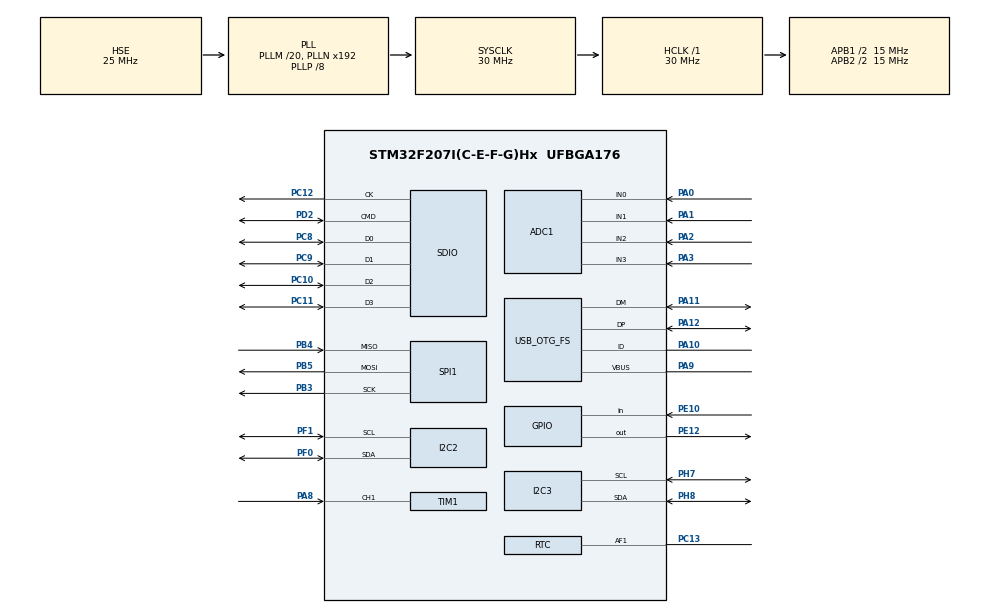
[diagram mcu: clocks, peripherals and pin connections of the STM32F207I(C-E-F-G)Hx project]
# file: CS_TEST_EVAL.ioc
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ADC1.Channel=ADC_CHANNEL_VREFINT
ADC1.Channel-0\#ChannelRegularConversion=ADC_CHANNEL_0
ADC1.Rank-0\#ChannelRegularConversion=1
ADC1.SamplingTime-0\#ChannelRegularConversion=ADC_SAMPLETIME_3CYCLES
ADC1.master=1
ADC2.Channel=ADC_CHANNEL_2
ADC2.Channel-0\#ChannelRegularConversion=ADC_CHANNEL_0
ADC2.Rank-0\#ChannelRegularConversion=1
ADC2.SamplingTime-0\#ChannelRegularConversion=ADC_SAMPLETIME_3CYCLES
ADC3.Channel=ADC_CHANNEL_1
ADC3.Channel-0\#ChannelRegularConversion=ADC_CHANNEL_0
ADC3.NbrOfConversionFlag=1
ADC3.Rank-0\#ChannelRegularConversion=1
ADC3.SamplingTime-0\#ChannelRegularConversion=ADC_SAMPLETIME_3CYCLES
Dma.ADC1.1.Channel=DMA_CHANNEL_0
Dma.ADC1.1.Direction=DMA_PERIPH_TO_MEMORY
Dma.ADC1.1.FIFOMode=DMA_FIFOMODE_DISABLE
Dma.ADC1.1.Instance=DMA2_Stream0
Dma.ADC1.1.MemDataAlignment=DMA_MDATAALIGN_BYTE
Dma.ADC1.1.MemInc=DMA_MINC_ENABLE
Dma.ADC1.1.Mode=DMA_NORMAL
Dma.ADC1.1.PeriphDataAlignment=DMA_PDATAALIGN_BYTE
Dma.ADC1.1.PeriphInc=DMA_PINC_DISABLE
Dma.ADC1.1.Priority=DMA_PRIORITY_LOW
Dma.I2C2_RX.3.Channel=DMA_CHANNEL_7
Dma.I2C2_RX.3.Direction=DMA_PERIPH_TO_MEMORY
Dma.I2C2_RX.3.FIFOMode=DMA_FIFOMODE_DISABLE
Dma.I2C2_RX.3.Instance=DMA1_Stream2
Dma.I2C2_RX.3.MemDataAlignment=DMA_MDATAALIGN_BYTE
Dma.I2C2_RX.3.MemInc=DMA_MINC_DISABLE
Dma.I2C2_RX.3.Mode=DMA_NORMAL
Dma.I2C2_RX.3.PeriphDataAlignment=DMA_PDATAALIGN_BYTE
Dma.I2C2_RX.3.PeriphInc=DMA_PINC_DISABLE
Dma.I2C2_RX.3.Priority=DMA_PRIORITY_LOW
Dma.Request0=SDIO
Dma.Request1=ADC1
Dma.Request2=TIM1_CH1/CH2/CH3
Dma.Request3=I2C2_RX
Dma.SDIO.0.Channel=DMA_CHANNEL_4
Dma.SDIO.0.Direction=DMA_PERIPH_TO_MEMORY
Dma.SDIO.0.FIFOMode=DMA_FIFOMODE_ENABLE
Dma.SDIO.0.FIFOThreshold=DMA_FIFO_THRESHOLD_HALFFULL
Dma.SDIO.0.Instance=DMA2_Stream3
Dma.SDIO.0.MemBurst=DMA_MBURST_SINGLE
Dma.SDIO.0.MemDataAlignment=DMA_MDATAALIGN_BYTE
Dma.SDIO.0.MemInc=DMA_MINC_ENABLE
Dma.SDIO.0.Mode=DMA_PFCTRL
Dma.SDIO.0.PeriphBurst=DMA_PBURST_SINGLE
Dma.SDIO.0.PeriphDataAlignment=DMA_PDATAALIGN_BYTE
Dma.SDIO.0.PeriphInc=DMA_PINC_DISABLE
Dma.SDIO.0.Priority=DMA_PRIORITY_LOW
Dma.TIM1_CH1/CH2/CH3.2.Channel=DMA_CHANNEL_0
Dma.TIM1_CH1/CH2/CH3.2.Direction=DMA_PERIPH_TO_MEMORY
Dma.TIM1_CH1/CH2/CH3.2.FIFOMode=DMA_FIFOMODE_DISABLE
Dma.TIM1_CH1/CH2/CH3.2.Instance=DMA2_Stream6
Dma.TIM1_CH1/CH2/CH3.2.MemDataAlignment=DMA_MDATAALIGN_BYTE
Dma.TIM1_CH1/CH2/CH3.2.MemInc=DMA_MINC_DISABLE
Dma.TIM1_CH1/CH2/CH3.2.Mode=DMA_NORMAL
Dma.TIM1_CH1/CH2/CH3.2.PeriphDataAlignment=DMA_PDATAALIGN_BYTE
Dma.TIM1_CH1/CH2/CH3.2.PeriphInc=DMA_PINC_DISABLE
Dma.TIM1_CH1/CH2/CH3.2.Priority=DMA_PRIORITY_LOW
Mcu.Family=STM32F2
Mcu.Name=STM32F207I(C-E-F-G)Hx
Mcu.Package=UFBGA176
NVIC.PriorityGroup=NVIC_PRIORITYGROUP_0
NVIC.RTC_Alarm_IRQn=true\:0\:0\:false
PA0-WKUP.Signal=ADCx_IN0
PA1.Signal=ADCx_IN1
PA10.Mode=OTG/Dual_Role_Device
PA10.Signal=USB_OTG_FS_ID
PA11.Mode=OTG/Dual_Role_Device
PA11.Signal=USB_OTG_FS_DM
PA12.Mode=OTG/Dual_Role_Device
PA12.Signal=USB_OTG_FS_DP
PA2.Signal=ADCx_IN2
PA3.Signal=ADCx_IN3
PA8.Signal=S_TIM1_CH1
PA9.Mode=Activate_VBUS
PA9.Signal=USB_OTG_FS_VBUS
PB3.Mode=Full_Duplex_Master
PB3.Signal=SPI1_SCK
PB4.Mode=Full_Duplex_Master
PB4.Signal=SPI1_MISO
PB5.Mode=Full_Duplex_Master
PB5.Signal=SPI1_MOSI
PC10.Mode=SD_4_bits_Wide_bus
PC10.Signal=SDIO_D2
PC11.Mode=SD_4_bits_Wide_bus
PC11.Signal=SDIO_D3
PC12.Mode=SD_4_bits_Wide_bus
PC12.Signal=SDIO_CK
PC13.Mode=Calibration_512Hz
PC13.Signal=RTC_AF1
PC8.Mode=SD_4_bits_Wide_bus
PC8.Signal=SDIO_D0
PC9.Mode=SD_4_bits_Wide_bus
PC9.Signal=SDIO_D1
PD2.Mode=SD_4_bits_Wide_bus
PD2.Signal=SDIO_CMD
PE10.Signal=GPIO_Input
PE12.Signal=GPIO_Output
PF0.Mode=I2C
PF0.Signal=I2C2_SDA
PF1.Mode=I2C
PF1.Signal=I2C2_SCL
PH0-OSC_IN.Mode=HSE-External-Oscillator
PH0-OSC_IN.Signal=RCC_OSC_IN
PH1-OSC_OUT.Mode=HSE-External-Oscillator
PH1-OSC_OUT.Signal=RCC_OSC_OUT
PH7.Mode=I2C
PH7.Signal=I2C3_SCL
PH8.Mode=I2C
PH8.Signal=I2C3_SDA
ProjectManager.TargetToolchain=MDK-ARM 4.73
RCC.48MHZClocksFreq_Value=48000000
RCC.AHBFreq_Value=30000000
RCC.APB1CLKDivider=RCC_HCLK_DIV2
RCC.APB1Freq_Value=15000000
RCC.APB1TimFreq_Value=30000000
RCC.APB2CLKDivider=RCC_HCLK_DIV2
RCC.APB2Freq_Value=15000000
RCC.APB2TimFreq_Value=30000000
RCC.CortexFreq_Value=3750000
RCC.HCLKFreq_Value=30000000
RCC.HSE_VALUE=25000000
RCC.HSI_VALUE=16000000
RCC.LSE_VALUE=32768
RCC.PLLM=20
RCC.PLLP=RCC_PLLP_DIV8
RCC.PLLQ=5
RCC.SYSCLKFreq_VALUE=30000000
RCC.SYSCLKSource=RCC_SYSCLKSOURCE_PLLCLK
RCC.VCOOutputFreq_Value=240000000
SDIO.BusWide-SD_4_bits_Wide_bus=SDIO_BUS_WIDE_1B
SDIO.WideMode=SDIO_BUS_WIDE_4B
SH.ADCx_IN0.0=ADC1_IN0,IN0
SH.ADCx_IN0.1=ADC2_IN0,IN0
SH.ADCx_IN0.2=ADC3_IN0,IN0
SH.ADCx_IN1.0=ADC1_IN1,IN1
SH.ADCx_IN1.1=ADC2_IN1,IN1
SH.ADCx_IN1.2=ADC3_IN1,IN1
SH.ADCx_IN2.0=ADC1_IN2,IN2
SH.ADCx_IN2.1=ADC2_IN2,IN2
SH.ADCx_IN2.2=ADC3_IN2,IN2
SH.ADCx_IN3.0=ADC1_IN3,IN3
SH.ADCx_IN3.1=ADC2_IN3,IN3
SH.S_TIM1_CH1.0=TIM1_CH1,Input_Capture1_from_TI1
SPI1.BaudRatePrescaler-Full_Duplex_Master=SPI_BAUDRATEPRESCALER_2
SPI1.CalculateBaudRate-Full_Duplex_Master=7.5 MBits/s
SPI1.Mode-Full_Duplex_Master=SPI_MODE_MASTER
USB_OTG_FS.use_external_vbus=ENABLE
VP_ADC1_TempSens_Input.Mode=IN-TempSens
VP_ADC1_Vbat_Input.Mode=IN-Vbat
VP_ADC1_Vref_Input.Mode=IN-Vrefint
VP_FATFS_VS_SDIO.Mode=SDIO
VP_IWDG_VS_IWDG.Mode=IWDG_Activate
VP_RTC_VS_RTC_Alarm_A_Intern.Mode=Alarm A
VP_RTC_VS_RTC_Alarm_B_Intern.Mode=Alarm B
VP_TIM1_VS_ClockSourceITR.Mode=TriggerSource_ITR3
VP_TIM1_VS_ControllerModeReset.Mode=Reset Mode
VP_TIM1_VS_OPM.Mode=OPM_bit
VP_WWDG_VS_WWDG.Mode=WWDG_Activate

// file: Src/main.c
/**
  ******************************************************************************
  * File Name          : main.c
  * Date               : 26/02/2015 14:35:08
  * Description        : Main program body
  ******************************************************************************
  *
  * COPYRIGHT(c) 2015 STMicroelectronics
  *
  * Redistribution and use in source and binary forms, with or without modification,
  * are permitted provided that the following conditions are met:
  *   1. Redistributions of source code must retain the above copyright notice,
  *      this list of conditions and the following disclaimer.
  *   2. Redistributions in binary form must reproduce the above copyright notice,
  *      this list of conditions and the following disclaimer in the documentation
  *      and/or other materials provided with the distribution.
  *   3. Neither the name of STMicroelectronics nor the names of its contributors
  *      may be used to endorse or promote products derived from this software
  *      without specific prior written permission.
  *
  * THIS SOFTWARE IS PROVIDED BY THE COPYRIGHT HOLDERS AND CONTRIBUTORS "AS IS"
  * AND ANY EXPRESS OR IMPLIED WARRANTIES, INCLUDING, BUT NOT LIMITED TO, THE
  * IMPLIED WARRANTIES OF MERCHANTABILITY AND FITNESS FOR A PARTICULAR PURPOSE ARE
  * DISCLAIMED. IN NO EVENT SHALL THE COPYRIGHT HOLDER OR CONTRIBUTORS BE LIABLE
  * FOR ANY DIRECT, INDIRECT, INCIDENTAL, SPECIAL, EXEMPLARY, OR CONSEQUENTIAL
  * DAMAGES (INCLUDING, BUT NOT LIMITED TO, PROCUREMENT OF SUBSTITUTE GOODS OR
  * SERVICES; LOSS OF USE, DATA, OR PROFITS; OR BUSINESS INTERRUPTION) HOWEVER
  * CAUSED AND ON ANY THEORY OF LIABILITY, WHETHER IN CONTRACT, STRICT LIABILITY,
  * OR TORT (INCLUDING NEGLIGENCE OR OTHERWISE) ARISING IN ANY WAY OUT OF THE USE
  * OF THIS SOFTWARE, EVEN IF ADVISED OF THE POSSIBILITY OF SUCH DAMAGE.
  *
  ******************************************************************************
  */

#include "stm32f2xx_hal.h"
#include "ff.h"
#include "ff_gen_drv.h"
#include "sd_diskio.h" /* defines SD_Driver as external */
#include "adc.h"
#include "dma.h"
#include "i2c.h"
#include "iwdg.h"
#include "rtc.h"
#include "sdio.h"
#include "spi.h"
#include "tim.h"
#include "usb_otg.h"
#include "wwdg.h"
#include "gpio.h"

uint8_t retSD;    /* Return value for SD */
char SD_Path[4];  /* SD logical drive path */

void SystemClock_Config(void);

int main(void)
{

  /* MCU Configuration----------------------------------------------------------*/

  /* Reset of all peripherals, Initializes the Flash interface and the Systick. */
  HAL_Init();

  /* Configure the system clock */
  SystemClock_Config();

  /* Initialize all configured peripherals */
  MX_GPIO_Init();
  MX_DMA_Init();
  MX_ADC1_Init();
  MX_ADC2_Init();
  MX_ADC3_Init();
  MX_I2C2_Init();
  MX_I2C3_Init();
  MX_IWDG_Init();
  MX_RTC_Init();
  MX_SDIO_SD_Init();
  MX_SPI1_Init();
  MX_TIM1_Init();
  MX_USB_OTG_FS_USB_Init();
  MX_WWDG_Init();

  /* USER CODE BEGIN 2 */
  /*Device structure initializations:*/
	GPIO_InitTypeDef GPIO_InitStructure;
	RCC_ClkInitTypeDef RCC_ClockFreq;
	ErrorStatus HSEStartUpStatus;
	ADC_InitTypeDef ADC_InitStructure;
	DMA_InitTypeDef DMA_InitStructure;
	I2C_InitTypeDef I2C_InitStructure;

	/*Initialize GPIO:*/
  GPIO_InitStructure.Pin = GPIO_PIN_10 | GPIO_PIN_9 | GPIO_PIN_8 | GPIO_PIN_7;
	GPIO_InitStructure.Mode = GPIO_MODE_OUTPUT_PP;
	GPIO_InitStructure.Pull = GPIO_NOPULL;
	GPIO_InitStructure.Speed = GPIO_SPEED_LOW;
	HAL_GPIO_Init(GPIOE, &GPIO_InitStructure);

	/*TODO: Initialize RCC?????:*/

	/*Initialize ADC:*/
	//__HAL_ADC_Start();
	GPIO_InitStructure.Pin = GPIO_PIN_1 | GPIO_PIN_2 | GPIO_PIN_3;
	GPIO_InitStructure.Mode = GPIO_MODE_ANALOG;
	HAL_GPIO_Init(GPIOA, &GPIO_InitStructure);

  //__ADC1_CLK_ENABLE();//671 xxhal_rcc.h
	/*
     *** Polling mode IO operation ***
     =================================
     [..]
       (+) Start the ADC peripheral using HAL_ADCEx_InjectedStart()
       (+) Wait for end of conversion using HAL_ADC_PollForConversion(), at this stage
           user can specify the value of timeout according to his end application
       (+) To read the ADC converted values, use the HAL_ADCEx_InjectedGetValue() function.
       (+) Stop the ADC peripheral using HAL_ADCEx_InjectedStop()
	*/

	//switch to function calls: ADC_Init(ADC1);
/*	ADC_InitStructure.ScanConvMode = DISABLE;
	ADC_InitStructure.DataAlign = ADC_DATAALIGN_RIGHT;
	ADC_InitStructure.ContinuousConvMode = DISABLE;
	ADC_InitStructure.NbrOfConversion = 1;
	ADC_InitStructure.Resolution = 12;
	ADC_InitStructure.ExternalTrigConv = ADC_EXTERNALTRIGCONVEDGE_NONE;

	HAL_ADC_Init(&hadc1);
*/
  HAL_ADC_MspInit(&hadc1);

  ADC_ChannelConfTypeDef sConfig;

  hadc1.Instance = ADC1;
  hadc1.Init.ClockPrescaler = ADC_CLOCKPRESCALER_PCLK_DIV2;
  hadc1.Init.Resolution = ADC_RESOLUTION12b;
  hadc1.Init.ScanConvMode = DISABLE;
  hadc1.Init.ContinuousConvMode = DISABLE;
  hadc1.Init.DiscontinuousConvMode = DISABLE;
  hadc1.Init.ExternalTrigConvEdge = ADC_EXTERNALTRIGCONVEDGE_NONE;
  hadc1.Init.DataAlign = ADC_DATAALIGN_RIGHT;
  hadc1.Init.NbrOfConversion = 1;
  hadc1.Init.DMAContinuousRequests = DISABLE;
  hadc1.Init.EOCSelection = EOC_SINGLE_CONV;
  HAL_ADC_Init(&hadc1);

    /**Configure for the selected ADC regular channel its corresponding rank in the sequencer and its sample time.
    */
  sConfig.Channel = ADC_CHANNEL_0;
  sConfig.Rank = 1;
  sConfig.SamplingTime = ADC_SAMPLETIME_3CYCLES;
  HAL_ADC_ConfigChannel(&hadc1, &sConfig);

  /*Initialize DMA:*/

	/*Initialize I2C:*/

	/* USER CODE END 2 */

  /*## FatFS: Link the SD driver ###########################*/
  retSD = FATFS_LinkDriver(&SD_Driver, SD_Path);

  /* USER CODE BEGIN 3 */
  /* Infinite loop */
  volatile uint32_t adc1;
	while (1)
  {
	  //HAL_ADCEx_InjectedStart(&hadc1);
		HAL_ADC_Start(&hadc1);
		HAL_ADC_PollForConversion(&hadc1, 1);
		adc1=0;
		adc1 = HAL_ADC_GetValue(&hadc1);
		if(adc1<1024){
					HAL_GPIO_WritePin(GPIOE, GPIO_PIN_10, GPIO_PIN_SET);
					HAL_GPIO_WritePin(GPIOE, GPIO_PIN_9, GPIO_PIN_RESET);
					HAL_GPIO_WritePin(GPIOE, GPIO_PIN_8, GPIO_PIN_RESET);
					HAL_GPIO_WritePin(GPIOE, GPIO_PIN_7, GPIO_PIN_RESET);
		}
		else if(adc1>=1024&&adc1<2048){
					HAL_GPIO_WritePin(GPIOE, GPIO_PIN_10, GPIO_PIN_RESET);
					HAL_GPIO_WritePin(GPIOE, GPIO_PIN_9, GPIO_PIN_SET);
					HAL_GPIO_WritePin(GPIOE, GPIO_PIN_8, GPIO_PIN_RESET);
					HAL_GPIO_WritePin(GPIOE, GPIO_PIN_7, GPIO_PIN_RESET);
		}
		else if(adc1>=2048&&adc1<3072){
					HAL_GPIO_WritePin(GPIOE, GPIO_PIN_10, GPIO_PIN_RESET);
					HAL_GPIO_WritePin(GPIOE, GPIO_PIN_9, GPIO_PIN_RESET);
					HAL_GPIO_WritePin(GPIOE, GPIO_PIN_8, GPIO_PIN_SET);
					HAL_GPIO_WritePin(GPIOE, GPIO_PIN_7, GPIO_PIN_RESET);
		}
		else if(adc1>=3072){
					HAL_GPIO_WritePin(GPIOE, GPIO_PIN_10, GPIO_PIN_RESET);
					HAL_GPIO_WritePin(GPIOE, GPIO_PIN_9, GPIO_PIN_RESET);
					HAL_GPIO_WritePin(GPIOE, GPIO_PIN_8, GPIO_PIN_RESET);
					HAL_GPIO_WritePin(GPIOE, GPIO_PIN_7, GPIO_PIN_SET);
		}
		else{
					HAL_GPIO_WritePin(GPIOE, GPIO_PIN_10, GPIO_PIN_SET);
					HAL_GPIO_WritePin(GPIOE, GPIO_PIN_9, GPIO_PIN_SET);
					HAL_GPIO_WritePin(GPIOE, GPIO_PIN_8, GPIO_PIN_SET);
					HAL_GPIO_WritePin(GPIOE, GPIO_PIN_7, GPIO_PIN_SET);
		}
  }
  /* USER CODE END 3 */
}

/** System Clock Configuration
*/
void SystemClock_Config(void)
{

  RCC_OscInitTypeDef RCC_OscInitStruct;
  RCC_ClkInitTypeDef RCC_ClkInitStruct;
  RCC_PeriphCLKInitTypeDef PeriphClkInitStruct;

  RCC_OscInitStruct.OscillatorType = RCC_OSCILLATORTYPE_LSI|RCC_OSCILLATORTYPE_HSE;
  RCC_OscInitStruct.HSEState = RCC_HSE_ON;
  RCC_OscInitStruct.LSIState = RCC_LSI_ON;
  RCC_OscInitStruct.PLL.PLLState = RCC_PLL_ON;
  RCC_OscInitStruct.PLL.PLLSource = RCC_PLLSOURCE_HSE;
  RCC_OscInitStruct.PLL.PLLM = 20;
  RCC_OscInitStruct.PLL.PLLN = 192;
  RCC_OscInitStruct.PLL.PLLP = RCC_PLLP_DIV8;
  RCC_OscInitStruct.PLL.PLLQ = 5;
  HAL_RCC_OscConfig(&RCC_OscInitStruct);

  RCC_ClkInitStruct.ClockType = RCC_CLOCKTYPE_SYSCLK|RCC_CLOCKTYPE_PCLK1
                              |RCC_CLOCKTYPE_PCLK2;
  RCC_ClkInitStruct.SYSCLKSource = RCC_SYSCLKSOURCE_PLLCLK;
  RCC_ClkInitStruct.AHBCLKDivider = RCC_SYSCLK_DIV1;
  RCC_ClkInitStruct.APB1CLKDivider = RCC_HCLK_DIV2;
  RCC_ClkInitStruct.APB2CLKDivider = RCC_HCLK_DIV2;
  HAL_RCC_ClockConfig(&RCC_ClkInitStruct, FLASH_LATENCY_0);

  PeriphClkInitStruct.PeriphClockSelection = RCC_PERIPHCLK_RTC;
  PeriphClkInitStruct.RTCClockSelection = RCC_RTCCLKSOURCE_LSI;
  HAL_RCCEx_PeriphCLKConfig(&PeriphClkInitStruct);

}

/************************ (C) COPYRIGHT STMicroelectronics *****END OF FILE****/
